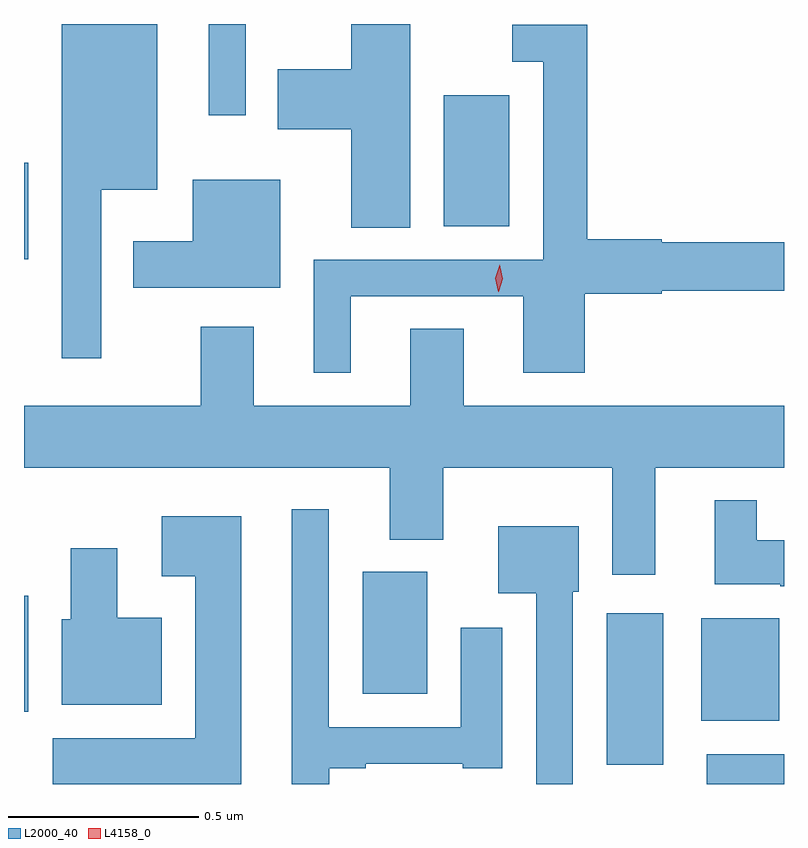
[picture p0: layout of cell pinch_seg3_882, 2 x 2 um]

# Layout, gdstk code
import gdstk
lib = gdstk.Library(unit=1e-6, precision=1e-09)
def R(c, l, rs):  # rectangles x0, y0, x1, y1
    for r in rs: c.add(gdstk.rectangle(r[:2], r[2:], *l))
def P(c, l, *ps):  # polygons
    for p in ps: c.add(gdstk.Polygon(p, *l))
L2000_40 = (2000, 40)
L4158_0 = (4158, 0)

pinch_seg3_882 = lib.new_cell('pinch_seg3_882')
R(pinch_seg3_882, L2000_40, [(665.543,677.44,665.746,677.518), (665.279,677.491,665.428,677.89), (665.528,677.606,665.734,677.876), (663.746,677.63,663.757,677.935), (664.637,677.678,664.807,677.998), (663.746,678.821,663.757,679.075), (664.85,678.908,665.023,679.252), (664.232,679.2,664.329,679.44)])
P(pinch_seg3_882, L2000_40, [(663.949,679.004),(664.096,679.004),(664.096,679.44),(663.845,679.44),(663.845,678.561),(663.949,678.561)],
  [(664.762,679.44),(664.607,679.44),(664.607,679.321),(664.414,679.321),(664.414,679.163),(664.607,679.163),(664.607,678.904),(664.762,678.904)],
  [(664.606,678.723),(665.06,678.723),(665.06,678.522),(665.222,678.522),(665.222,678.73),(665.424,678.73),(665.424,678.738),(665.746,678.738),(665.746,678.866),(665.424,678.866),(665.424,678.874),(665.228,678.874),(665.228,679.438),(665.031,679.438),(665.031,679.341),(665.112,679.341),(665.112,678.819),(664.508,678.819),(664.508,678.522),(664.606,678.522)],
  [(664.42,679.03),(664.19,679.03),(664.19,678.868),(664.034,678.868),(664.034,678.746),(664.42,678.746)],
  [(665.407,678.272),(665.746,678.272),(665.746,678.436),(664.903,678.436),(664.903,678.638),(664.763,678.638),(664.763,678.436),(664.351,678.436),(664.351,678.643),(664.211,678.643),(664.211,678.436),(663.746,678.436),(663.746,678.272),(664.709,678.272),(664.709,678.083),(664.849,678.083),(664.849,678.272),(665.294,678.272),(665.294,677.991),(665.407,677.991)],
  [(665.746,678.082),(665.674,678.082),(665.674,678.187),(665.564,678.187),(665.564,677.966),(665.736,677.966),(665.736,677.96),(665.746,677.96)],
  [(664.549,677.481),(664.645,677.481),(664.645,677.493),(664.901,677.493),(664.901,677.481),(665.005,677.481),(665.005,677.851),(664.895,677.851),(664.895,677.589),(664.548,677.589),(664.548,678.163),(664.451,678.163),(664.451,677.44),(664.549,677.44)],
  [(664.318,678.145),(664.109,678.145),(664.109,677.987),(664.196,677.987),(664.196,677.56),(663.821,677.56),(663.821,677.44),(664.318,677.44)],
  [(665.19,677.946),(665.206,677.946),(665.206,678.118),(664.994,678.118),(664.994,677.942),(665.094,677.942),(665.094,677.44),(665.19,677.44)],
  [(664.108,677.878),(663.991,677.878),(663.991,678.061),(663.869,678.061),(663.869,677.874),(663.845,677.874),(663.845,677.648),(664.108,677.648)])
P(pinch_seg3_882, L4158_0, [(664.994,678.735),(664.986,678.771),(664.998,678.806),(664.998,678.807),(664.998,678.806),(665.006,678.77),(664.995,678.735),(664.995,678.735)])

lib.write_gds('pinch_seg3_882.gds')
